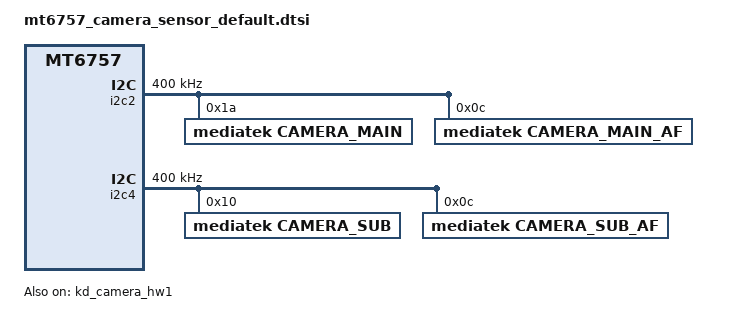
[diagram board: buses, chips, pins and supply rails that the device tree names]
/* Camera sensor dtsi file */

&i2c2 {
	#address-cells = <1>;
	#size-cells = <0>;
	clock-frequency = <400000>;
	mediatek,use-open-drain;
	camera_main@1a {
		compatible = "mediatek,camera_main";
		reg = <0x1a>;
		status = "okay";
	};

	camera_main_af@0c {
		compatible = "mediatek,camera_main_af";
		reg = <0x0c>;
		status = "okay";
	};

};

&i2c4 {
	#address-cells = <1>;
	#size-cells = <0>;
	clock-frequency = <400000>;
	mediatek,use-open-drain;
	camera_sub@10 {
		compatible = "mediatek,camera_sub";
		reg = <0x10>;
		status = "okay";
	};

	camera_sub_af@0c {
		compatible = "mediatek,camera_sub_af";
		reg = <0x0c>;
		status = "okay";
	};

};

&kd_camera_hw1 {
	vcama-supply = <&mt_pmic_vcama1_ldo_reg>;
	vcama_main2-supply = <&mt_pmic_vcama2_ldo_reg>;
	vcama_sub-supply = <&mt_pmic_vcama2_ldo_reg>;
	vcamd-supply = <&mt_pmic_vcamd1_ldo_reg>;
	vcamd_main2-supply = <&mt_pmic_vcamd2_ldo_reg>;
	vcamd_sub-supply = <&mt_pmic_vcamd2_ldo_reg>;
	vcamio-supply = <&mt_pmic_vcamio_ldo_reg>;
	vcamio_main2-supply = <&mt_pmic_vcamio_ldo_reg>;
	vcamio_sub-supply = <&mt_pmic_vcamio_ldo_reg>;
	vcamaf-supply = <&mt_pmic_vldo28_ldo_reg>;
	vcamaf_main2-supply = <&mt_pmic_vldo28_ldo_reg>;
	vcamaf_sub-supply = <&mt_pmic_vldo28_ldo_reg>;
	status = "okay";
};

/* CAMERA GPIO standardization */
&pio {
	camera_pins_cam0_rst0: cam0@0 {
		pins_cmd_dat {
			pins = <PINMUX_GPIO110__FUNC_GPIO110>;
			slew-rate = <1>; /*direction 0:in, 1:out*/
			output-low;/*direction out used only. output_low or high*/
		};
	};
	camera_pins_cam0_rst1: cam0@1 {
		pins_cmd_dat {
			pins = <PINMUX_GPIO110__FUNC_GPIO110>;
			slew-rate = <1>;
			output-high;
		};
	};
	camera_pins_cam0_pnd0: cam0@2 {
		pins_cmd_dat {
			pins = <PINMUX_GPIO107__FUNC_GPIO107>;
			slew-rate = <1>;
			output-low;
		};
	};
	camera_pins_cam0_pnd1: cam0@3 {
		pins_cmd_dat {
			pins = <PINMUX_GPIO107__FUNC_GPIO107>;
			slew-rate = <1>;
			output-high;
		};
	};
	camera_pins_cam1_rst0: cam1@0 {
		pins_cmd_dat {
			pins = <PINMUX_GPIO111__FUNC_GPIO111>;
			slew-rate = <1>; /*direction 0:in, 1:out*/
			output-low;/*direction out used only. output_low or high*/
		};
	};
	camera_pins_cam1_rst1: cam1@1 {
		pins_cmd_dat {
			pins = <PINMUX_GPIO111__FUNC_GPIO111>;
			slew-rate = <1>;
			output-high;
		};
	};
	camera_pins_cam1_pnd0: cam1@2 {
		pins_cmd_dat {
			pins = <PINMUX_GPIO108__FUNC_GPIO108>;
			slew-rate = <1>;
			output-low;
		};
	};
	camera_pins_cam1_pnd1: cam1@3 {
		pins_cmd_dat {
			pins = <PINMUX_GPIO108__FUNC_GPIO108>;
			slew-rate = <1>;
			output-high;
		};
	};
	camera_pins_cam2_rst0: cam2@0 {
		pins_cmd_dat {
			pins = <PINMUX_GPIO90__FUNC_GPIO90>;
			slew-rate = <1>;
			output-low;
		};
	};
	camera_pins_cam2_rst1: cam2@1 {
		pins_cmd_dat {
			pins = <PINMUX_GPIO90__FUNC_GPIO90>;
			slew-rate = <1>;
			output-high;
		};
	};
	camera_pins_cam2_pnd0: cam2@3 {
		pins_cmd_dat {
			pins = <PINMUX_GPIO89__FUNC_GPIO89>;
			slew-rate = <1>;
			output-low;
		};
	};
	camera_pins_cam2_pnd1: cam2@4 {
		pins_cmd_dat {
			pins = <PINMUX_GPIO89__FUNC_GPIO89>;
			slew-rate = <1>;
			output-high;
		};
	};
	camera_pins_cam_mipi_sel_0: mipi_sel@0 {
		pins_cmd_dat {
			pins = <PINMUX_GPIO84__FUNC_GPIO84>;
			slew-rate = <1>;
			output-low;
		};
	};
	camera_pins_cam_mipi_sel_1: mipi_sel@1 {
		pins_cmd_dat {
			pins = <PINMUX_GPIO84__FUNC_GPIO84>;
			slew-rate = <1>;
			output-high;
		};
	};
	camera_pins_cam_mipi_en_0: mipi_en@0 {
		pins_cmd_dat {
			pins = <PINMUX_GPIO83__FUNC_GPIO83>;
			slew-rate = <1>;
			output-low;
		};
	};
	camera_pins_cam_mipi_en_1: mipi_en@1 {
		pins_cmd_dat {
			pins = <PINMUX_GPIO83__FUNC_GPIO83>;
			slew-rate = <1>;
			output-high;
		};
	};
	camera_pins_cam_ldo_vcamd_0: cam0@vcamd0 {
		pins_cmd_dat {
			pins = <PINMUX_GPIO23__FUNC_GPIO23>;
			slew-rate = <1>;
			output-low;
		};
	};
	camera_pins_cam_ldo_vcamd_1: cam1@vcamd1 {
		pins_cmd_dat {
			pins = <PINMUX_GPIO23__FUNC_GPIO23>;
			slew-rate = <1>;
			output-high;
		};
	};
	camera_pins_default: camdefault {
	};

};


&kd_camera_hw1 {
	pinctrl-names = "default",
			"cam0_rst0", "cam0_rst1", "cam0_pnd0", "cam0_pnd1",
			"cam1_rst0", "cam1_rst1", "cam1_pnd0", "cam1_pnd1",
			"cam2_rst0", "cam2_rst1", "cam2_pnd0", "cam2_pnd1",
			"cam_mipi_switch_sel_0", "cam_mipi_switch_sel_1",
			"cam_mipi_switch_en_0", "cam_mipi_switch_en_1",
			"cam_ldo_vcamd_0", "cam_ldo_vcamd_1";

	pinctrl-0 = <&camera_pins_default>;
	pinctrl-1 = <&camera_pins_cam0_rst0>;
	pinctrl-2 = <&camera_pins_cam0_rst1>;
	pinctrl-3 = <&camera_pins_cam0_pnd0>;
	pinctrl-4 = <&camera_pins_cam0_pnd1>;
	pinctrl-5 = <&camera_pins_cam1_rst0>;
	pinctrl-6 = <&camera_pins_cam1_rst1>;
	pinctrl-7 = <&camera_pins_cam1_pnd0>;
	pinctrl-8 = <&camera_pins_cam1_pnd1>;
	pinctrl-9 = <&camera_pins_cam2_rst0>;
	pinctrl-10 = <&camera_pins_cam2_rst1>;
	pinctrl-11 = <&camera_pins_cam2_pnd0>;
	pinctrl-12 = <&camera_pins_cam2_pnd1>;
	pinctrl-13 = <&camera_pins_cam_mipi_sel_0>;
	pinctrl-14 = <&camera_pins_cam_mipi_sel_1>;
	pinctrl-15 = <&camera_pins_cam_mipi_en_0>;
	pinctrl-16 = <&camera_pins_cam_mipi_en_1>;
	pinctrl-17 = <&camera_pins_cam_ldo_vcamd_0>;
	pinctrl-18 = <&camera_pins_cam_ldo_vcamd_1>;
	status = "okay";

};
/* CAMERA GPIO end */

